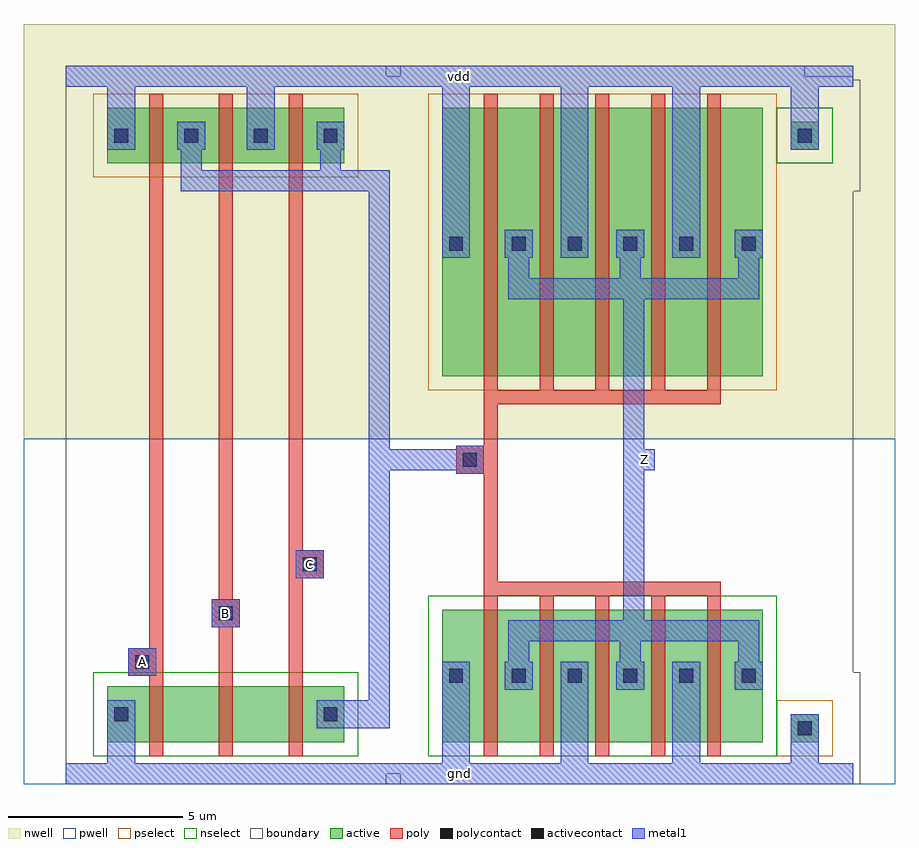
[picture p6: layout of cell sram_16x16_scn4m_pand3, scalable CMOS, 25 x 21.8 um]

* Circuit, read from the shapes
.subckt sram_16x16_scn4m_pand3 A B C Z gnd vdd
M1 sram_16x16_scn4m_pnand3_0_0/sram_16x16_scn4m_nmos_m1_w1_600_sm1_dactive_3/D A gnd gnd nfet w=1.6u l=0.4u
M2 sram_16x16_scn4m_pnand3_0_0/sram_16x16_scn4m_nmos_m1_w1_600_sactive_dactive_4/D B sram_16x16_scn4m_pnand3_0_0/sram_16x16_scn4m_nmos_m1_w1_600_sm1_dactive_3/D gnd nfet w=1.6u l=0.4u
M3 sram_16x16_scn4m_pdriver_2_1/A C sram_16x16_scn4m_pnand3_0_0/sram_16x16_scn4m_nmos_m1_w1_600_sactive_dactive_4/D gnd nfet w=1.6u l=0.4u
M4 Z sram_16x16_scn4m_pdriver_2_1/A gnd gnd nfet w=3.8u l=0.4u m=5
M5 sram_16x16_scn4m_pdriver_2_1/A A vdd vdd pfet w=1.6u l=0.4u
M6 vdd B sram_16x16_scn4m_pdriver_2_1/A vdd pfet w=1.6u l=0.4u
M7 sram_16x16_scn4m_pdriver_2_1/A C vdd vdd pfet w=1.6u l=0.4u
M8 Z sram_16x16_scn4m_pdriver_2_1/A vdd vdd pfet w=7.7u l=0.4u m=5
.ends

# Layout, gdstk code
import gdstk
lib = gdstk.Library(unit=1e-6, precision=1e-09)
def R(c, l, rs):  # rectangles x0, y0, x1, y1
    for r in rs: c.add(gdstk.rectangle(r[:2], r[2:], *l))
def A(c, l, x, y, w, h, nx, ny, dx, dy):  # array of equal rectangles
    R(c, l, [(x+i*dx, y+j*dy, x+i*dx+w, y+j*dy+h) for i in range(nx) for j in range(ny)])
pwell = (41, 0)
nwell = (42, 0)
active = (43, 0)
pselect = (44, 0)
nselect = (45, 0)
poly = (46, 0)
polycontact = (47, 0)
activecontact = (48, 0)
metal1 = (49, 0)
boundary = (63, 0)

sram_16x16_scn4m_contact = lib.new_cell('sram_16x16_scn4m_contact_12')
R(sram_16x16_scn4m_contact, nwell, [(-1.2,-1.2,2,2)])
R(sram_16x16_scn4m_contact, active, [(0,0,0.8,0.8)])
R(sram_16x16_scn4m_contact, pselect, [(-0.4,-0.4,1.2,1.2)])
R(sram_16x16_scn4m_contact, activecontact, [(0.2,0.2,0.6,0.6)])
R(sram_16x16_scn4m_contact, metal1, [(0,0,0.8,0.8)])
R(sram_16x16_scn4m_contact, boundary, [(-1.2,-1.2,2,2)])

sram_16x16_scn4m_pmos_m1 = lib.new_cell('sram_16x16_scn4m_pmos_m1_w1_600_sm1_dm1')
R(sram_16x16_scn4m_pmos_m1, nwell, [(-1.2,-1.2,4,2.8)])
R(sram_16x16_scn4m_pmos_m1, active, [(0,0,2.8,1.6)])
R(sram_16x16_scn4m_pmos_m1, pselect, [(-0.4,-0.4,3.2,2)])
R(sram_16x16_scn4m_pmos_m1, poly, [(1.2,-0.4,1.6,2), (1.2,-0.4,1.6,2)])
R(sram_16x16_scn4m_pmos_m1, metal1, [(0,0.4,0.8,1.2), (2,0.4,2.8,1.2)])
R(sram_16x16_scn4m_pmos_m1, boundary, [(-1.2,-1.2,4,2.8)])
sram_16x16_scn4m_pmos_m1.add(gdstk.Reference(sram_16x16_scn4m_contact, (0,0.4)))
sram_16x16_scn4m_pmos_m1.add(gdstk.Reference(sram_16x16_scn4m_contact, (2,0.4)))
sram_16x16_scn4m_pmos_m1.add(gdstk.Label('G', (1.4,0.8), layer=46, texttype=0))
sram_16x16_scn4m_pmos_m1.add(gdstk.Label('S', (0.4,0.8), layer=49, texttype=0))
sram_16x16_scn4m_pmos_m1.add(gdstk.Label('D', (2.4,0.8), layer=49, texttype=0))

c_sram_16x16_scn4m_contact = lib.new_cell('sram_16x16_scn4m_contact_11')
R(c_sram_16x16_scn4m_contact, pwell, [(-1.2,-1.2,2,2)])
R(c_sram_16x16_scn4m_contact, active, [(0,0,0.8,0.8)])
R(c_sram_16x16_scn4m_contact, nselect, [(-0.4,-0.4,1.2,1.2)])
R(c_sram_16x16_scn4m_contact, activecontact, [(0.2,0.2,0.6,0.6)])
R(c_sram_16x16_scn4m_contact, metal1, [(0,0,0.8,0.8)])
R(c_sram_16x16_scn4m_contact, boundary, [(-1.2,-1.2,2,2)])

sram_16x16_scn4m_nmos_m1 = lib.new_cell('sram_16x16_scn4m_nmos_m1_w1_600_sm1_dactive')
R(sram_16x16_scn4m_nmos_m1, pwell, [(-1.2,-1.2,4,2.8)])
R(sram_16x16_scn4m_nmos_m1, active, [(0,0,2.8,1.6), (2.1,0.5,2.7,1.1)])
R(sram_16x16_scn4m_nmos_m1, nselect, [(-0.4,-0.4,3.2,2)])
R(sram_16x16_scn4m_nmos_m1, poly, [(1.2,-0.4,1.6,2), (1.2,-0.4,1.6,2)])
R(sram_16x16_scn4m_nmos_m1, metal1, [(0,0.4,0.8,1.2)])
R(sram_16x16_scn4m_nmos_m1, boundary, [(-1.2,-1.2,4,2.8)])
sram_16x16_scn4m_nmos_m1.add(gdstk.Reference(c_sram_16x16_scn4m_contact, (0,0.4)))
sram_16x16_scn4m_nmos_m1.add(gdstk.Label('G', (1.4,0.8), layer=46, texttype=0))
sram_16x16_scn4m_nmos_m1.add(gdstk.Label('S', (0.4,0.8), layer=49, texttype=0))
sram_16x16_scn4m_nmos_m1.add(gdstk.Label('D', (2.4,0.8), layer=43, texttype=0))

c_sram_16x16_scn4m_nmos_m1 = lib.new_cell('sram_16x16_scn4m_nmos_m1_w1_600_sactive_dactive')
R(c_sram_16x16_scn4m_nmos_m1, pwell, [(-1.2,-1.2,4,2.8)])
R(c_sram_16x16_scn4m_nmos_m1, active, [(0,0,2.8,1.6), (0.1,0.5,0.7,1.1), (2.1,0.5,2.7,1.1)])
R(c_sram_16x16_scn4m_nmos_m1, nselect, [(-0.4,-0.4,3.2,2)])
R(c_sram_16x16_scn4m_nmos_m1, poly, [(1.2,-0.4,1.6,2), (1.2,-0.4,1.6,2)])
R(c_sram_16x16_scn4m_nmos_m1, boundary, [(-1.2,-1.2,4,2.8)])
c_sram_16x16_scn4m_nmos_m1.add(gdstk.Label('G', (1.4,0.8), layer=46, texttype=0))
c_sram_16x16_scn4m_nmos_m1.add(gdstk.Label('S', (0.4,0.8), layer=43, texttype=0))
c_sram_16x16_scn4m_nmos_m1.add(gdstk.Label('D', (2.4,0.8), layer=43, texttype=0))

c_sram_16x16_scn4m_nmos_m1_ = lib.new_cell('sram_16x16_scn4m_nmos_m1_w1_600_sactive_dm1')
R(c_sram_16x16_scn4m_nmos_m1_, pwell, [(-1.2,-1.2,4,2.8)])
R(c_sram_16x16_scn4m_nmos_m1_, active, [(0,0,2.8,1.6), (0.1,0.5,0.7,1.1)])
R(c_sram_16x16_scn4m_nmos_m1_, nselect, [(-0.4,-0.4,3.2,2)])
R(c_sram_16x16_scn4m_nmos_m1_, poly, [(1.2,-0.4,1.6,2), (1.2,-0.4,1.6,2)])
R(c_sram_16x16_scn4m_nmos_m1_, metal1, [(2,0.4,2.8,1.2)])
R(c_sram_16x16_scn4m_nmos_m1_, boundary, [(-1.2,-1.2,4,2.8)])
c_sram_16x16_scn4m_nmos_m1_.add(gdstk.Reference(c_sram_16x16_scn4m_contact, (2,0.4)))
c_sram_16x16_scn4m_nmos_m1_.add(gdstk.Label('G', (1.4,0.8), layer=46, texttype=0))
c_sram_16x16_scn4m_nmos_m1_.add(gdstk.Label('S', (0.4,0.8), layer=43, texttype=0))
c_sram_16x16_scn4m_nmos_m1_.add(gdstk.Label('D', (2.4,0.8), layer=49, texttype=0))

c_sram_16x16_scn4m_contact_ = lib.new_cell('sram_16x16_scn4m_contact_15')
R(c_sram_16x16_scn4m_contact_, poly, [(0,0,0.8,0.8)])
R(c_sram_16x16_scn4m_contact_, polycontact, [(0.2,0.2,0.6,0.6)])
R(c_sram_16x16_scn4m_contact_, metal1, [(0,0,0.8,0.8)])
R(c_sram_16x16_scn4m_contact_, boundary, [(0,0,0.8,0.8)])

sram_16x16_scn4m_pnand3_ = lib.new_cell('sram_16x16_scn4m_pnand3_0')
R(sram_16x16_scn4m_pnand3_, pwell, [(-1.2,-0.3,10.8,9.6)])
R(sram_16x16_scn4m_pnand3_, nwell, [(-1.2,9.6,10.8,21.5)])
A(sram_16x16_scn4m_pnand3_, poly, 2.4, 2.9, 0.4, 14.2, 3, 1, 2, 0)
R(sram_16x16_scn4m_pnand3_, poly, [(2.2,2.8,2.4,3.6), (4.4,4.2,4.6,5), (6.4,5.6,7,6.4)])
R(sram_16x16_scn4m_pnand3_, metal1, [(0,-0.3,9.6,0.3), (1.2,-0.3,2,1.3), (7.6,1.3,9,2.1), (8.7,1.3,9.3,17), (1.8,2.8,2.6,3.6), (4.2,4.2,5,5), (6.6,5.6,7.4,6.4), (3.3,16.7,3.9,17.3), (3.6,16.7,9,17.3), (7.3,16.7,7.9,17.3), (7.6,16.7,9,17.3), (8.7,16.7,9.3,17.3), (3.3,17,3.9,18.3), (7.3,17,7.9,18.3), (1.2,17.9,2,20.3), (5.2,17.9,6,20.3), (0,19.7,9.6,20.3)])
R(sram_16x16_scn4m_pnand3_, boundary, [(0,0,9.6,20), (0,0,9.6,20)])
sram_16x16_scn4m_pnand3_.add(gdstk.Reference(sram_16x16_scn4m_pmos_m1, (1.2,17.5)))
sram_16x16_scn4m_pnand3_.add(gdstk.Reference(sram_16x16_scn4m_pmos_m1, (3.2,17.5)))
sram_16x16_scn4m_pnand3_.add(gdstk.Reference(sram_16x16_scn4m_pmos_m1, (5.2,17.5)))
sram_16x16_scn4m_pnand3_.add(gdstk.Reference(sram_16x16_scn4m_nmos_m1, (1.2,0.9)))
sram_16x16_scn4m_pnand3_.add(gdstk.Reference(c_sram_16x16_scn4m_nmos_m1, (3.2,0.9)))
sram_16x16_scn4m_pnand3_.add(gdstk.Reference(c_sram_16x16_scn4m_nmos_m1_, (5.2,0.9)))
sram_16x16_scn4m_pnand3_.add(gdstk.Reference(c_sram_16x16_scn4m_contact_, (1.8,2.8)))
sram_16x16_scn4m_pnand3_.add(gdstk.Reference(c_sram_16x16_scn4m_contact_, (4.2,4.2)))
sram_16x16_scn4m_pnand3_.add(gdstk.Reference(c_sram_16x16_scn4m_contact_, (6.6,5.6)))
sram_16x16_scn4m_pnand3_.add(gdstk.Label('A', (2.2,3.2), layer=49, texttype=0))
sram_16x16_scn4m_pnand3_.add(gdstk.Label('B', (4.6,4.6), layer=49, texttype=0))
sram_16x16_scn4m_pnand3_.add(gdstk.Label('C', (7,6), layer=49, texttype=0))
sram_16x16_scn4m_pnand3_.add(gdstk.Label('Z', (9,17), layer=49, texttype=0))
sram_16x16_scn4m_pnand3_.add(gdstk.Label('gnd', (4.8,0), layer=49, texttype=0))
sram_16x16_scn4m_pnand3_.add(gdstk.Label('vdd', (4.8,20), layer=49, texttype=0))

sram_16x16_scn4m_pmos_m5 = lib.new_cell('sram_16x16_scn4m_pmos_m5_w7_700_sm1_dm1_da_p')
R(sram_16x16_scn4m_pmos_m5, nwell, [(-1.2,-1.2,10.4,8.9)])
R(sram_16x16_scn4m_pmos_m5, active, [(0,0,9.2,7.7)])
R(sram_16x16_scn4m_pmos_m5, pselect, [(-0.4,-0.4,9.6,8.1)])
A(sram_16x16_scn4m_pmos_m5, poly, 1.2, -0.4, 0.4, 8.5, 5, 1, 1.6, 0)
R(sram_16x16_scn4m_pmos_m5, poly, [(1.2,-0.8,8,-0.4)])
R(sram_16x16_scn4m_pmos_m5, metal1, [(1.9,2.2,9.1,2.8), (1.9,2.6,2.5,3.8), (5.1,2.6,5.7,3.8), (8.5,2.6,9.1,3.8), (0,3.4,0.8,4.2), (3.4,3.4,4.2,4.2), (6.6,3.4,7.4,4.2)])
R(sram_16x16_scn4m_pmos_m5, boundary, [(-1.2,-1.2,10.4,8.9)])
sram_16x16_scn4m_pmos_m5.add(gdstk.Reference(sram_16x16_scn4m_contact, (0,3.4)))
sram_16x16_scn4m_pmos_m5.add(gdstk.Reference(sram_16x16_scn4m_contact, (1.8,3.4)))
sram_16x16_scn4m_pmos_m5.add(gdstk.Reference(sram_16x16_scn4m_contact, (3.4,3.4)))
sram_16x16_scn4m_pmos_m5.add(gdstk.Reference(sram_16x16_scn4m_contact, (5,3.4)))
sram_16x16_scn4m_pmos_m5.add(gdstk.Reference(sram_16x16_scn4m_contact, (6.6,3.4)))
sram_16x16_scn4m_pmos_m5.add(gdstk.Reference(sram_16x16_scn4m_contact, (8.4,3.4)))
sram_16x16_scn4m_pmos_m5.add(gdstk.Label('G', (4.6,-0.6), layer=46, texttype=0))
sram_16x16_scn4m_pmos_m5.add(gdstk.Label('S', (3.8,3.8), layer=49, texttype=0))
sram_16x16_scn4m_pmos_m5.add(gdstk.Label('S', (0.4,3.8), layer=49, texttype=0))
sram_16x16_scn4m_pmos_m5.add(gdstk.Label('S', (7,3.8), layer=49, texttype=0))
sram_16x16_scn4m_pmos_m5.add(gdstk.Label('D', (5.5,2.5), layer=49, texttype=0))

sram_16x16_scn4m_nmos_m5 = lib.new_cell('sram_16x16_scn4m_nmos_m5_w3_800_sm1_dm1_da_p')
R(sram_16x16_scn4m_nmos_m5, pwell, [(-1.2,-1.2,10.4,5)])
R(sram_16x16_scn4m_nmos_m5, active, [(0,0,9.2,3.8)])
R(sram_16x16_scn4m_nmos_m5, nselect, [(-0.4,-0.4,9.6,4.2)])
A(sram_16x16_scn4m_nmos_m5, poly, 1.2, -0.4, 0.4, 4.6, 5, 1, 1.6, 0)
R(sram_16x16_scn4m_nmos_m5, poly, [(1.2,4.2,8,4.6)])
R(sram_16x16_scn4m_nmos_m5, metal1, [(0,1.5,0.8,2.3), (3.4,1.5,4.2,2.3), (6.6,1.5,7.4,2.3), (1.9,1.9,2.5,3.2), (5.1,1.9,5.7,3.2), (8.5,1.9,9.1,3.2), (1.9,2.9,9.1,3.5)])
R(sram_16x16_scn4m_nmos_m5, boundary, [(-1.2,-1.2,10.4,5)])
sram_16x16_scn4m_nmos_m5.add(gdstk.Reference(c_sram_16x16_scn4m_contact, (0,1.5)))
sram_16x16_scn4m_nmos_m5.add(gdstk.Reference(c_sram_16x16_scn4m_contact, (1.8,1.5)))
sram_16x16_scn4m_nmos_m5.add(gdstk.Reference(c_sram_16x16_scn4m_contact, (3.4,1.5)))
sram_16x16_scn4m_nmos_m5.add(gdstk.Reference(c_sram_16x16_scn4m_contact, (5,1.5)))
sram_16x16_scn4m_nmos_m5.add(gdstk.Reference(c_sram_16x16_scn4m_contact, (6.6,1.5)))
sram_16x16_scn4m_nmos_m5.add(gdstk.Reference(c_sram_16x16_scn4m_contact, (8.4,1.5)))
sram_16x16_scn4m_nmos_m5.add(gdstk.Label('G', (4.6,4.4), layer=46, texttype=0))
sram_16x16_scn4m_nmos_m5.add(gdstk.Label('S', (3.8,1.9), layer=49, texttype=0))
sram_16x16_scn4m_nmos_m5.add(gdstk.Label('S', (0.4,1.9), layer=49, texttype=0))
sram_16x16_scn4m_nmos_m5.add(gdstk.Label('S', (7,1.9), layer=49, texttype=0))
sram_16x16_scn4m_nmos_m5.add(gdstk.Label('D', (5.5,3.2), layer=49, texttype=0))

c_sram_16x16_scn4m_contact__ = lib.new_cell('sram_16x16_scn4m_contact_13')
R(c_sram_16x16_scn4m_contact__, nwell, [(-1.2,-1.2,2,2)])
R(c_sram_16x16_scn4m_contact__, active, [(0,0,0.8,0.8)])
R(c_sram_16x16_scn4m_contact__, nselect, [(-0.4,-0.4,1.2,1.2)])
R(c_sram_16x16_scn4m_contact__, activecontact, [(0.2,0.2,0.6,0.6)])
R(c_sram_16x16_scn4m_contact__, metal1, [(0,0,0.8,0.8)])
R(c_sram_16x16_scn4m_contact__, boundary, [(-1.2,-1.2,2,2)])

c_sram_16x16_scn4m_contact___ = lib.new_cell('sram_16x16_scn4m_contact_14')
R(c_sram_16x16_scn4m_contact___, pwell, [(-1.2,-1.2,2,2)])
R(c_sram_16x16_scn4m_contact___, active, [(0,0,0.8,0.8)])
R(c_sram_16x16_scn4m_contact___, pselect, [(-0.4,-0.4,1.2,1.2)])
R(c_sram_16x16_scn4m_contact___, activecontact, [(0.2,0.2,0.6,0.6)])
R(c_sram_16x16_scn4m_contact___, metal1, [(0,0,0.8,0.8)])
R(c_sram_16x16_scn4m_contact___, boundary, [(-1.2,-1.2,2,2)])

sram_16x16_scn4m_pinv_10 = lib.new_cell('sram_16x16_scn4m_pinv_10')
R(sram_16x16_scn4m_pinv_10, pwell, [(-1.2,-0.3,14.2,9.6)])
R(sram_16x16_scn4m_pinv_10, nwell, [(-1.2,9.6,14.2,21.5)])
R(sram_16x16_scn4m_pinv_10, poly, [(2.4,5.5,2.8,10.6), (2,8.6,2.4,9.4)])
R(sram_16x16_scn4m_pinv_10, metal1, [(0,-0.3,13,0.3), (1.2,-0.3,2,2.4), (4.6,-0.3,5.4,2.4), (7.8,-0.3,8.6,2.4), (11.2,0,12,1.3), (6.4,3.8,7,14.2), (1.6,8.6,2.4,9.4), (6.7,8.7,7.3,9.3), (1.2,14.8,2,20.3), (4.6,14.8,5.4,20.3), (7.8,14.8,8.6,20.3), (11.2,18.3,12,20), (0,19.7,13,20.3)])
R(sram_16x16_scn4m_pinv_10, boundary, [(0,0,13,20), (0,0,13,20)])
sram_16x16_scn4m_pinv_10.add(gdstk.Reference(sram_16x16_scn4m_pmos_m5, (1.2,11.4)))
sram_16x16_scn4m_pinv_10.add(gdstk.Reference(sram_16x16_scn4m_nmos_m5, (1.2,0.9)))
sram_16x16_scn4m_pinv_10.add(gdstk.Reference(c_sram_16x16_scn4m_contact__, (11.2,17.9)))
sram_16x16_scn4m_pinv_10.add(gdstk.Reference(c_sram_16x16_scn4m_contact___, (11.2,0.9)))
sram_16x16_scn4m_pinv_10.add(gdstk.Reference(c_sram_16x16_scn4m_contact_, (1.6,8.6)))
sram_16x16_scn4m_pinv_10.add(gdstk.Label('A', (2,9), layer=49, texttype=0))
sram_16x16_scn4m_pinv_10.add(gdstk.Label('Z', (7,9), layer=49, texttype=0))
sram_16x16_scn4m_pinv_10.add(gdstk.Label('gnd', (6.5,0), layer=49, texttype=0))
sram_16x16_scn4m_pinv_10.add(gdstk.Label('vdd', (6.5,20), layer=49, texttype=0))

sram_16x16_scn4m_pdriver = lib.new_cell('sram_16x16_scn4m_pdriver_2')
R(sram_16x16_scn4m_pdriver, pwell, [(-1.2,-0.3,14.2,9.6)])
R(sram_16x16_scn4m_pdriver, nwell, [(-1.2,9.6,14.2,21.5)])
R(sram_16x16_scn4m_pdriver, metal1, [(0,-0.3,13,0.3), (1.6,8.6,2.4,9.4), (6.7,8.7,7.3,9.3), (0,19.7,13,20.3)])
R(sram_16x16_scn4m_pdriver, boundary, [(0,0,13,20), (0,0,13,20)])
sram_16x16_scn4m_pdriver.add(gdstk.Reference(sram_16x16_scn4m_pinv_10, (0,0)))
sram_16x16_scn4m_pdriver.add(gdstk.Label('Z', (7,9), layer=49, texttype=0))
sram_16x16_scn4m_pdriver.add(gdstk.Label('A', (2,9), layer=49, texttype=0))
sram_16x16_scn4m_pdriver.add(gdstk.Label('gnd', (6.5,0), layer=49, texttype=0))
sram_16x16_scn4m_pdriver.add(gdstk.Label('vdd', (6.5,20), layer=49, texttype=0))

sram_16x16_scn4m_pand3 = lib.new_cell('sram_16x16_scn4m_pand3')
R(sram_16x16_scn4m_pand3, metal1, [(0,-0.3,22.6,0.3), (1.8,2.8,2.6,3.6), (4.2,4.2,5,5), (6.6,5.6,7.4,6.4), (8.7,8.7,9.3,9.3), (9,8.7,11.6,9.3), (16.3,8.7,16.9,9.3), (8.7,9,9.3,17), (0,19.7,22.6,20.3)])
R(sram_16x16_scn4m_pand3, boundary, [(0,0,22.6,20), (0,0,22.6,20)])
sram_16x16_scn4m_pand3.add(gdstk.Reference(sram_16x16_scn4m_pnand3_, (0,0)))
sram_16x16_scn4m_pand3.add(gdstk.Reference(sram_16x16_scn4m_pdriver, (9.6,0)))
sram_16x16_scn4m_pand3.add(gdstk.Label('Z', (16.6,9), layer=49, texttype=0))
sram_16x16_scn4m_pand3.add(gdstk.Label('A', (2.2,3.2), layer=49, texttype=0))
sram_16x16_scn4m_pand3.add(gdstk.Label('B', (4.6,4.6), layer=49, texttype=0))
sram_16x16_scn4m_pand3.add(gdstk.Label('C', (7,6), layer=49, texttype=0))
sram_16x16_scn4m_pand3.add(gdstk.Label('gnd', (11.3,0), layer=49, texttype=0))
sram_16x16_scn4m_pand3.add(gdstk.Label('vdd', (11.3,20), layer=49, texttype=0))

lib.write_gds('sram_16x16_scn4m_pand3.gds')
